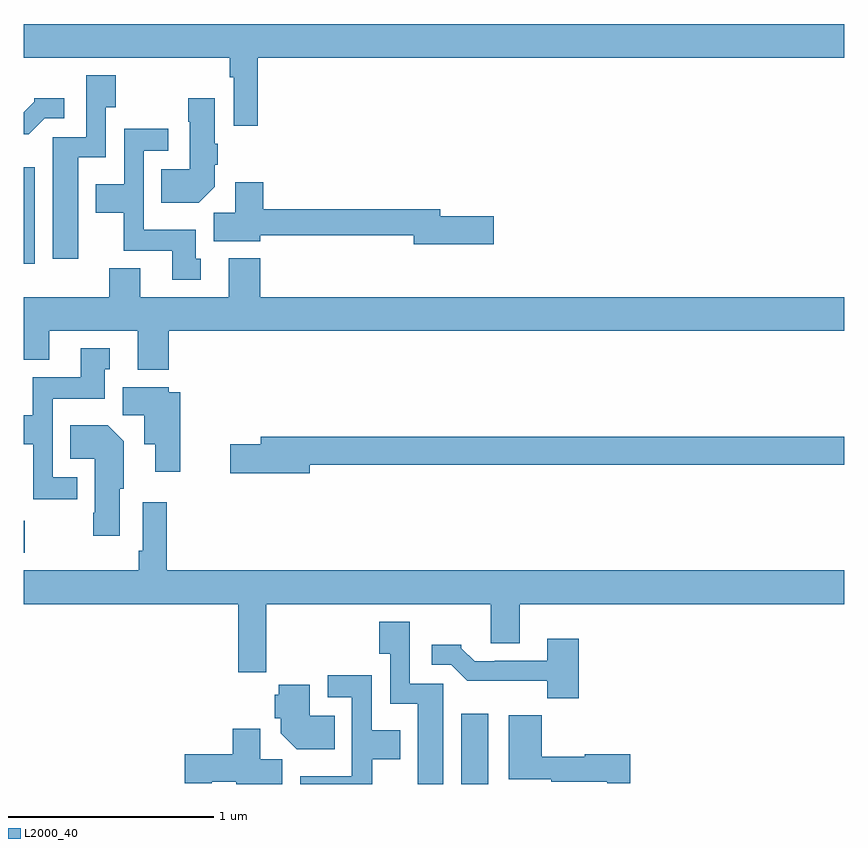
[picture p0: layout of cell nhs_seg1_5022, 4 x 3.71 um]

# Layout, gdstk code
import gdstk
lib = gdstk.Library(unit=1e-6, precision=1e-09)
def R(c, l, rs):  # rectangles x0, y0, x1, y1
    for r in rs: c.add(gdstk.rectangle(r[:2], r[2:], *l))
def P(c, l, *ps):  # polygons
    for p in ps: c.add(gdstk.Polygon(p, *l))
L2000_40 = (2000, 40)

nhs_seg1_5022 = lib.new_cell('nhs_seg1_5022')
R(nhs_seg1_5022, L2000_40, [(385.133,540.199,385.264,540.541), (383,541.326,383.004,541.482), (383,542.736,383.053,543.205)])
P(nhs_seg1_5022, L2000_40, [(383,543.74),(384.004,543.74),(384.004,543.644),(384.024,543.644),(384.024,543.408),(384.14,543.408),(384.14,543.74),(387,543.74),(387,543.904),(383,543.904)],
  [(383.266,543.254),(383.4,543.254),(383.4,543.499),(383.448,543.499),(383.448,543.655),(383.304,543.655),(383.304,543.351),(383.141,543.351),(383.141,542.76),(383.266,542.76)],
  [(383.932,543.11),(383.932,543.217),(383.945,543.217),(383.945,543.32),(383.932,543.32),(383.932,543.541),(383.803,543.541),(383.803,543.428),(383.81,543.428),(383.81,543.196),(383.671,543.196),(383.671,543.032),(383.854,543.032)],
  [(383.103,543.444),(383.197,543.444),(383.197,543.541),(383.052,543.541),(383.052,543.526),(383,543.474),(383,543.366),(383.025,543.366)],
  [(383.863,542.76),(383.839,542.76),(383.839,542.902),(383.586,542.902),(383.586,543.285),(383.704,543.285),(383.704,543.394),(383.49,543.394),(383.49,543.124),(383.351,543.124),(383.351,542.984),(383.488,542.984),(383.488,542.798),(383.723,542.798),(383.723,542.658),(383.863,542.658)],
  [(385.291,542.966),(385.03,542.966),(385.03,543.002),(384.167,543.002),(384.167,543.133),(384.032,543.133),(384.032,542.984),(383.927,542.984),(383.927,542.846),(384.154,542.846),(384.154,542.874),(384.902,542.874),(384.902,542.831),(385.291,542.831)],
  [(383.708,542.408),(387,542.408),(387,542.572),(384.152,542.572),(384.152,542.761),(383.999,542.761),(383.999,542.572),(383.569,542.572),(383.569,542.713),(383.417,542.713),(383.417,542.572),(383,542.572),(383,542.267),(383.125,542.267),(383.125,542.408),(383.555,542.408),(383.555,542.219),(383.708,542.219)],
  [(383.26,541.695),(383.142,541.695),(383.142,542.078),(383.395,542.078),(383.395,542.22),(383.419,542.22),(383.419,542.323),(383.279,542.323),(383.279,542.182),(383.044,542.182),(383.044,541.996),(383,541.996),(383,541.856),(383.046,541.856),(383.046,541.587),(383.26,541.587)],
  [(383.764,542.11),(383.706,542.11),(383.706,542.134),(383.483,542.134),(383.483,541.996),(383.588,541.996),(383.588,541.856),(383.642,541.856),(383.642,541.722),(383.764,541.722)],
  [(383.467,541.638),(383.488,541.638),(383.488,541.87),(383.41,541.948),(383.227,541.948),(383.227,541.784),(383.345,541.784),(383.345,541.522),(383.338,541.522),(383.338,541.41),(383.467,541.41)],
  [(384.394,541.756),(387,541.756),(387,541.892),(384.155,541.892),(384.155,541.856),(384.006,541.856),(384.006,541.714),(384.394,541.714)],
  [(384.182,541.076),(385.277,541.076),(385.277,540.886),(385.417,540.886),(385.417,541.076),(387,541.076),(387,541.24),(383.696,541.24),(383.696,541.573),(383.58,541.573),(383.58,541.336),(383.56,541.336),(383.56,541.24),(383,541.24),(383,541.076),(384.046,541.076),(384.046,540.744),(384.182,540.744)],
  [(385.045,540.687),(384.882,540.687),(384.882,540.991),(384.734,540.991),(384.734,540.835),(384.786,540.835),(384.786,540.59),(384.92,540.59),(384.92,540.199),(385.045,540.199)],
  [(385.706,540.907),(385.553,540.907),(385.553,540.801),(385.297,540.801),(385.297,540.798),(385.198,540.798),(385.134,540.862),(385.134,540.877),(384.99,540.877),(384.99,540.78),(385.083,540.78),(385.162,540.702),(385.551,540.702),(385.551,540.617),(385.706,540.617)],
  [(384.699,540.32),(384.835,540.32),(384.835,540.46),(384.696,540.46),(384.696,540.73),(384.483,540.73),(384.483,540.621),(384.6,540.621),(384.6,540.238),(384.347,540.238),(384.347,540.199),(384.699,540.199)],
  [(384.515,540.532),(384.394,540.532),(384.394,540.682),(384.242,540.682),(384.242,540.633),(384.224,540.633),(384.224,540.519),(384.254,540.519),(384.254,540.446),(384.332,540.368),(384.515,540.368)],
  [(385.957,540.344),(385.734,540.344),(385.734,540.331),(385.526,540.331),(385.526,540.535),(385.364,540.535),(385.364,540.221),(385.572,540.221),(385.572,540.209),(385.844,540.209),(385.844,540.202),(385.957,540.202)],
  [(384.259,540.32),(384.154,540.32),(384.154,540.469),(384.02,540.469),(384.02,540.344),(383.784,540.344),(383.784,540.202),(383.916,540.202),(383.916,540.209),(384.036,540.209),(384.036,540.199),(384.259,540.199)])

lib.write_gds('nhs_seg1_5022.gds')
